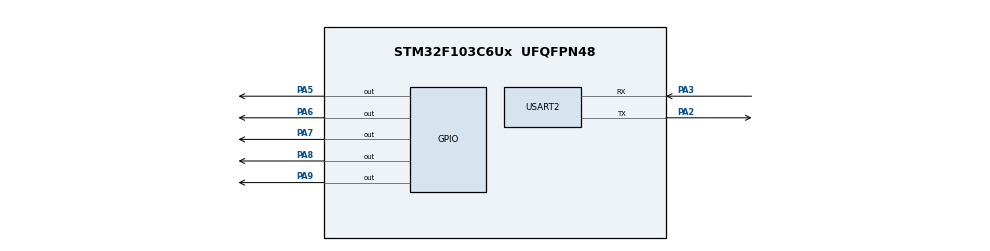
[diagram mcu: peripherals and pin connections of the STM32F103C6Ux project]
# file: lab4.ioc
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Mcu.Family=STM32F1
Mcu.Name=STM32F103C6Ux
Mcu.Package=UFQFPN48
NVIC.PriorityGroup=NVIC_PRIORITYGROUP_4
NVIC.TIM2_IRQn=true\:0\:0\:false\:false\:true\:true\:true
PA2.Mode=Asynchronous
PA2.Signal=USART2_TX
PA3.Mode=Asynchronous
PA3.Signal=USART2_RX
PA5.Signal=GPIO_Output
PA6.Signal=GPIO_Output
PA7.Signal=GPIO_Output
PA8.Signal=GPIO_Output
PA9.Signal=GPIO_Output
ProjectManager.HeapSize=0x200
ProjectManager.StackSize=0x400
ProjectManager.TargetToolchain=STM32CubeIDE
RCC.APB1Freq_Value=8000000
RCC.APB2Freq_Value=8000000
TIM2.Period=9
TIM2.Prescaler=7999
USART2.VirtualMode=VM_ASYNC
VP_SYS_VS_ND.Mode=No_Debug
VP_TIM2_VS_ClockSourceINT.Mode=Internal
board=custom

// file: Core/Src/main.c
/* USER CODE BEGIN Header */
/**
  ******************************************************************************
  * @file           : main.c
  * @brief          : Main program body
  ******************************************************************************
  * @attention
  *
  * <h2><center>&copy; Copyright (c) 2026 STMicroelectronics.
  * All rights reserved.</center></h2>
  *
  * This software component is licensed by ST under BSD 3-Clause license,
  * the "License"; You may not use this file except in compliance with the
  * License. You may obtain a copy of the License at:
  *                        opensource.org/licenses/BSD-3-Clause
  *
  ******************************************************************************
  */
/* USER CODE END Header */
#include "main.h"

/* USER CODE BEGIN Includes */
#include "scheduler.h"
#include "tasks.h"
/* USER CODE END Includes */

TIM_HandleTypeDef htim2;

UART_HandleTypeDef huart2;

void SystemClock_Config(void);
static void MX_GPIO_Init(void);
static void MX_TIM2_Init(void);
static void MX_USART2_UART_Init(void);

int main(void)
{

  /* MCU Configuration--------------------------------------------------------*/

  /* Reset of all peripherals, Initializes the Flash interface and the Systick. */
  HAL_Init();

  /* Configure the system clock */
  SystemClock_Config();

  /* Initialize all configured peripherals */
  MX_GPIO_Init();
  MX_TIM2_Init();
  MX_USART2_UART_Init();
  /* USER CODE BEGIN 2 */
  HAL_TIM_Base_Start_IT(&htim2);

  SCH_Init();
  SCH_Add_Task(task_print_10ms, 0, 1);
  SCH_Add_Task(task_led_05s, 0, 50);
  SCH_Add_Task(task_led_10s, 5, 100);
  SCH_Add_Task(task_led_15s, 10, 150);
  SCH_Add_Task(task_led_20s, 15, 200);
  SCH_Add_Task(task_led_25s, 20, 250);

  SCH_Add_Task(task_oneshot_print, 25, 0);
  /* USER CODE END 2 */

  /* Infinite loop */
  /* USER CODE BEGIN WHILE */
  while (1)
  {
	SCH_Dispatch_Tasks();
    /* USER CODE END WHILE */

  }
}

void SystemClock_Config(void)
{
  RCC_OscInitTypeDef RCC_OscInitStruct = {0};
  RCC_ClkInitTypeDef RCC_ClkInitStruct = {0};

  /** Initializes the RCC Oscillators according to the specified parameters
  * in the RCC_OscInitTypeDef structure.
  */
  RCC_OscInitStruct.OscillatorType = RCC_OSCILLATORTYPE_HSI;
  RCC_OscInitStruct.HSIState = RCC_HSI_ON;
  RCC_OscInitStruct.HSICalibrationValue = RCC_HSICALIBRATION_DEFAULT;
  RCC_OscInitStruct.PLL.PLLState = RCC_PLL_NONE;
  if (HAL_RCC_OscConfig(&RCC_OscInitStruct) != HAL_OK)
  {
    Error_Handler();
  }
  /** Initializes the CPU, AHB and APB buses clocks
  */
  RCC_ClkInitStruct.ClockType = RCC_CLOCKTYPE_HCLK|RCC_CLOCKTYPE_SYSCLK
                              |RCC_CLOCKTYPE_PCLK1|RCC_CLOCKTYPE_PCLK2;
  RCC_ClkInitStruct.SYSCLKSource = RCC_SYSCLKSOURCE_HSI;
  RCC_ClkInitStruct.AHBCLKDivider = RCC_SYSCLK_DIV1;
  RCC_ClkInitStruct.APB1CLKDivider = RCC_HCLK_DIV1;
  RCC_ClkInitStruct.APB2CLKDivider = RCC_HCLK_DIV1;

  if (HAL_RCC_ClockConfig(&RCC_ClkInitStruct, FLASH_LATENCY_0) != HAL_OK)
  {
    Error_Handler();
  }
}

static void MX_TIM2_Init(void)
{

  TIM_ClockConfigTypeDef sClockSourceConfig = {0};
  TIM_MasterConfigTypeDef sMasterConfig = {0};

  htim2.Instance = TIM2;
  htim2.Init.Prescaler = 7999;
  htim2.Init.CounterMode = TIM_COUNTERMODE_UP;
  htim2.Init.Period = 9;
  htim2.Init.ClockDivision = TIM_CLOCKDIVISION_DIV1;
  htim2.Init.AutoReloadPreload = TIM_AUTORELOAD_PRELOAD_DISABLE;
  if (HAL_TIM_Base_Init(&htim2) != HAL_OK)
  {
    Error_Handler();
  }
  sClockSourceConfig.ClockSource = TIM_CLOCKSOURCE_INTERNAL;
  if (HAL_TIM_ConfigClockSource(&htim2, &sClockSourceConfig) != HAL_OK)
  {
    Error_Handler();
  }
  sMasterConfig.MasterOutputTrigger = TIM_TRGO_RESET;
  sMasterConfig.MasterSlaveMode = TIM_MASTERSLAVEMODE_DISABLE;
  if (HAL_TIMEx_MasterConfigSynchronization(&htim2, &sMasterConfig) != HAL_OK)
  {
    Error_Handler();
  }

}

static void MX_USART2_UART_Init(void)
{

  huart2.Instance = USART2;
  huart2.Init.BaudRate = 115200;
  huart2.Init.WordLength = UART_WORDLENGTH_8B;
  huart2.Init.StopBits = UART_STOPBITS_1;
  huart2.Init.Parity = UART_PARITY_NONE;
  huart2.Init.Mode = UART_MODE_TX_RX;
  huart2.Init.HwFlowCtl = UART_HWCONTROL_NONE;
  huart2.Init.OverSampling = UART_OVERSAMPLING_16;
  if (HAL_UART_Init(&huart2) != HAL_OK)
  {
    Error_Handler();
  }

}

static void MX_GPIO_Init(void)
{
  GPIO_InitTypeDef GPIO_InitStruct = {0};

  /* GPIO Ports Clock Enable */
  __HAL_RCC_GPIOA_CLK_ENABLE();

  /*Configure GPIO pin Output Level */
  HAL_GPIO_WritePin(GPIOA, GPIO_PIN_5|GPIO_PIN_6|GPIO_PIN_7|GPIO_PIN_8
                          |GPIO_PIN_9, GPIO_PIN_SET);

  /*Configure GPIO pins : PA5 PA6 PA7 PA8
                           PA9 */
  GPIO_InitStruct.Pin = GPIO_PIN_5|GPIO_PIN_6|GPIO_PIN_7|GPIO_PIN_8
                          |GPIO_PIN_9;
  GPIO_InitStruct.Mode = GPIO_MODE_OUTPUT_PP;
  GPIO_InitStruct.Pull = GPIO_NOPULL;
  GPIO_InitStruct.Speed = GPIO_SPEED_FREQ_LOW;
  HAL_GPIO_Init(GPIOA, &GPIO_InitStruct);

}

/* USER CODE BEGIN 4 */
void HAL_TIM_PeriodElapsedCallback(TIM_HandleTypeDef *htim) {
    if (htim->Instance == TIM2) {
        SCH_Update();
    }
}
/* USER CODE END 4 */

void Error_Handler(void)
{
  __disable_irq();
  while (1)
  {
  }
}

/************************ (C) COPYRIGHT STMicroelectronics *****END OF FILE****/
